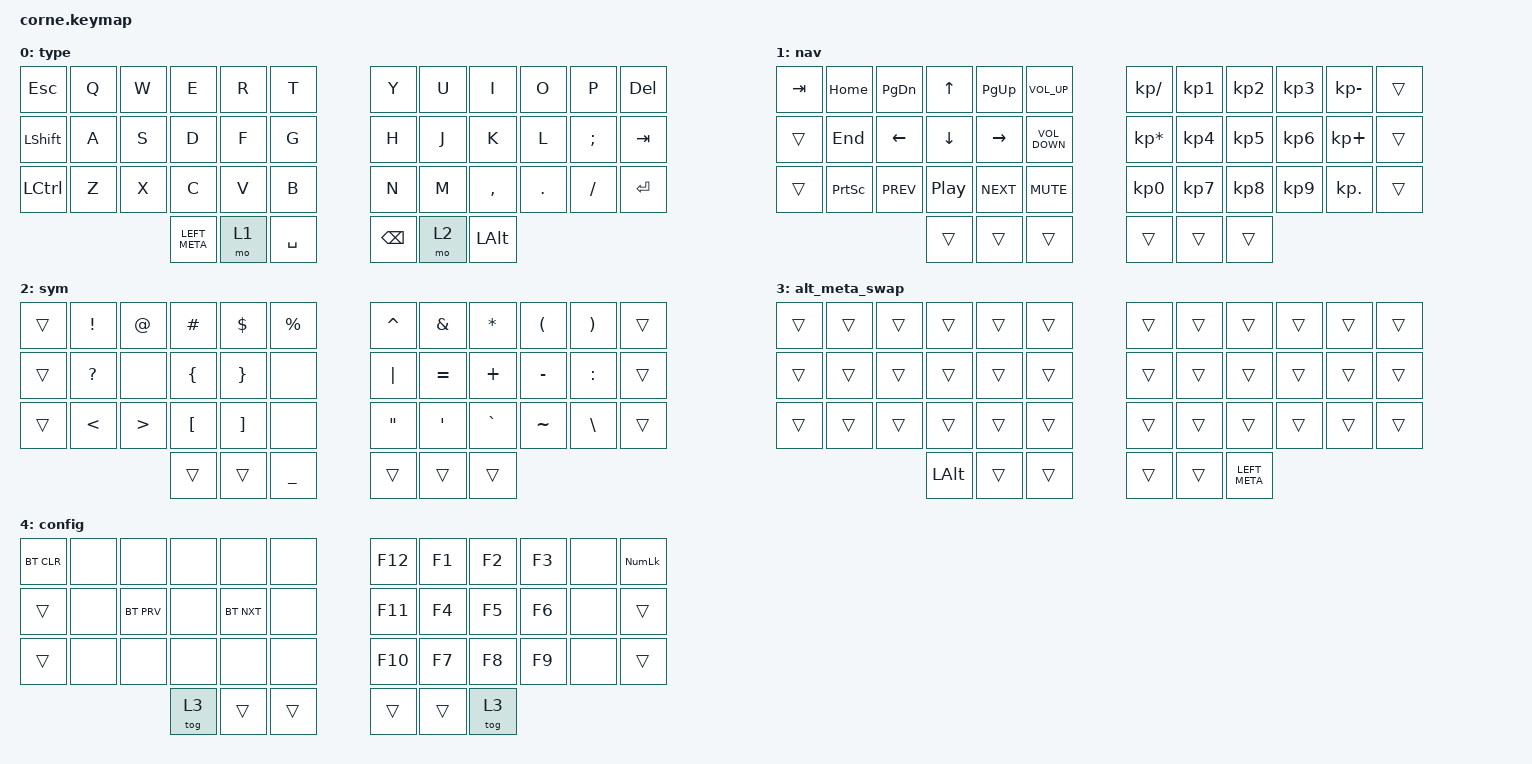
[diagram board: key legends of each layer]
/*
 * Copyright (c) 2020 The ZMK Contributors
 *
 * SPDX-License-Identifier: MIT
 */

#include <behaviors.dtsi>
#include <dt-bindings/zmk/bt.h>
#include <dt-bindings/zmk/keys.h>

/ {
    conditional_layers {
        compatible = "zmk,conditional-layers";

        tri_layer {
            if-layers = <1 2>;
            then-layer = <4>;
        };
    };

    keymap {
        compatible = "zmk,keymap";

        type {
            // -----------------------------------------------------------------------------------------
            // | ESC  |  Q  |  W  |  E  |  R  |  T   |   |  Y  |  U   |  I  |  O  |  P  | DEL  |
            // | TAB  |  A  |  S  |  D  |  F  |  G   |   |  H  |  J   |  K  |  L  |  ;  | BKSP |
            // | CTRL |  Z  |  X  |  C  |  V  |  B   |   |  N  |  M   |  ,  |  .  |  /  | ENT  |
            //                    | GUI | LWR | SPC  |   | SHFT | RSE  | ALT |

            bindings = <
&kp ESC         &kp Q  &kp W  &kp E          &kp R  &kp T        &kp Y          &kp U  &kp I         &kp O    &kp P     &kp DELETE
&kp LEFT_SHIFT  &kp A  &kp S  &kp D          &kp F  &kp G        &kp H          &kp J  &kp K         &kp L    &kp SEMI  &kp TAB
&kp LCTRL       &kp Z  &kp X  &kp C          &kp V  &kp B        &kp N          &kp M  &kp COMMA     &kp DOT  &kp FSLH  &kp ENTER
                              &kp LEFT_META  &mo 1  &kp SPACE    &kp BACKSPACE  &mo 2  &kp LEFT_ALT
            >;
        };

        nav {
            // -----------------------------------------------------------------------------------------
            // |      |  1  |  2  |  3  |  4  |  5  |   |  6  |  7  |  8  |  9  |  0  |       |
            // |      | LFT | DWN |  UP | RGT |     |   |     |     |     | F11 | F12 |       |
            // |      | F1  | F2  | F3  | F4  | F5  |   | F6  | F7  | F8  | F9  | F10 |       |
            //                    |     |     |     |   |     |     |     |

            bindings = <
&kp TAB  &kp HOME         &kp PAGE_DOWN   &kp UP_ARROW    &kp PAGE_UP  &kp C_VOLUME_UP      &kp KP_DIVIDE    &kp KP_NUMBER_1  &kp KP_NUMBER_2  &kp KP_NUMBER_3  &kp KP_MINUS  &trans
&trans   &kp END          &kp LEFT_ARROW  &kp DOWN_ARROW  &kp RIGHT    &kp C_VOLUME_DOWN    &kp KP_MULTIPLY  &kp KP_NUMBER_4  &kp KP_NUMBER_5  &kp KP_NUMBER_6  &kp KP_PLUS   &trans
&trans   &kp PRINTSCREEN  &kp C_PREV      &kp C_PP        &kp C_NEXT   &kp C_MUTE           &kp KP_NUMBER_0  &kp KP_NUMBER_7  &kp KP_NUMBER_8  &kp KP_NUMBER_9  &kp KP_DOT    &trans
                                          &trans          &trans       &trans               &trans           &trans           &trans
            >;
        };

        sym {
            // -----------------------------------------------------------------------------------------
            // |      |  !  |  @  |  #  |  $  |  %  |   |  ^  |  &  |  *  |  (  |  )  |      |
            // |      |     |     |     |     |     |   |  -  |  =  |  [  |  ]  |  \  |      |
            // |      |  '  |  `  |  "  |  ~  |     |   |  _  |  +  |  {  |  }  | "|" |      |
            //                    |     |     |     |   |     |     |     |

            bindings = <
&trans  &kp EXCL       &kp AT            &kp HASH          &kp DLLR           &kp PRCNT         &kp CARET          &kp AMPS          &kp ASTERISK  &kp LPAR   &kp RPAR       &trans
&trans  &kp QUESTION   &none             &kp LEFT_BRACE    &kp RIGHT_BRACE    &none             &kp PIPE           &kp EQUAL         &kp PLUS      &kp MINUS  &kp COLON      &trans
&trans  &kp LESS_THAN  &kp GREATER_THAN  &kp LEFT_BRACKET  &kp RIGHT_BRACKET  &none             &kp DOUBLE_QUOTES  &kp SINGLE_QUOTE  &kp GRAVE     &kp TILDE  &kp BACKSLASH  &trans
                                         &trans            &trans             &kp UNDERSCORE    &trans             &trans            &trans
            >;
        };

        alt_meta_swap {
            bindings = <
&trans  &trans  &trans  &trans        &trans  &trans    &trans  &trans  &trans         &trans  &trans  &trans
&trans  &trans  &trans  &trans        &trans  &trans    &trans  &trans  &trans         &trans  &trans  &trans
&trans  &trans  &trans  &trans        &trans  &trans    &trans  &trans  &trans         &trans  &trans  &trans
                        &kp LEFT_ALT  &trans  &trans    &trans  &trans  &kp LEFT_META
            >;
        };

        config {
            // -----------------------------------------------------------------------------------------
            // |      |     |     |     |     |     |   |     |     |     |     |     | C_PWR |
            // |      |     |     |     |     |     |   |     |     |     |     |BTCLR|       |
            // |      |     |     |     |     |     |   | BT1 | BT2 | BT3 | BT4 | BT5 |       |
            //                    |     |     |     |   |     |     |     |

            bindings = <
&bt BT_CLR  &none  &none       &none   &none       &none     &kp F12  &kp F1  &kp F2  &kp F3  &none  &kp KP_NUMLOCK
&trans      &none  &bt BT_PRV  &none   &bt BT_NXT  &none     &kp F11  &kp F4  &kp F5  &kp F6  &none  &trans
&trans      &none  &none       &none   &none       &none     &kp F10  &kp F7  &kp F8  &kp F9  &none  &trans
                               &tog 3  &trans      &trans    &trans   &trans  &tog 3
            >;
        };
    };
};
